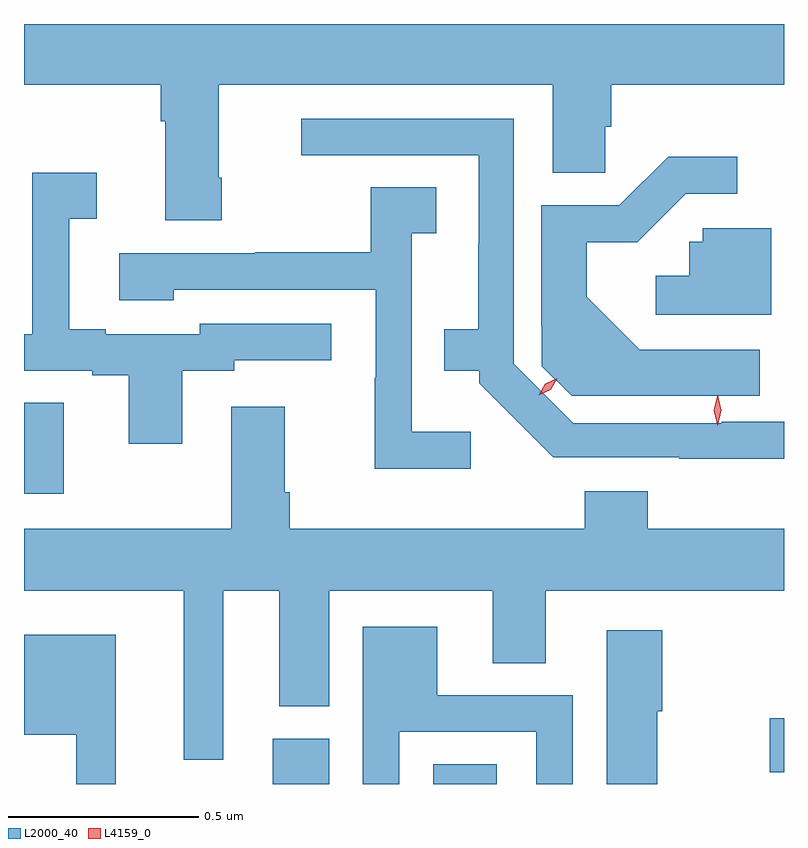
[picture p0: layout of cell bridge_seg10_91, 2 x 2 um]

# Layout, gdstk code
import gdstk
lib = gdstk.Library(unit=1e-6, precision=1e-09)
def R(c, l, rs):  # rectangles x0, y0, x1, y1
    for r in rs: c.add(gdstk.rectangle(r[:2], r[2:], *l))
def P(c, l, *ps):  # polygons
    for p in ps: c.add(gdstk.Polygon(p, *l))
L2000_40 = (2000, 40)
L4159_0 = (4159, 0)

bridge_seg10_91 = lib.new_cell('bridge_seg10_91')
R(bridge_seg10_91, L2000_40, [(637.331,1297.144,637.48,1297.263), (637.754,1297.144,637.921,1297.196), (638.64,1297.175,638.677,1297.317), (636.677,1297.908,636.781,1298.147)])
P(bridge_seg10_91, L2000_40, [(638.207,1298.874),(638.222,1298.874),(638.222,1298.984),(638.677,1298.984),(638.677,1299.144),(636.677,1299.144),(636.677,1298.984),(637.037,1298.984),(637.037,1298.888),(637.049,1298.888),(637.049,1298.628),(637.197,1298.628),(637.197,1298.74),(637.189,1298.74),(637.189,1298.984),(638.069,1298.984),(638.069,1298.752),(638.207,1298.752)],
  [(638.677,1298.097),(638.513,1298.097),(638.513,1298.093),(638.123,1298.093),(637.966,1298.25),(637.966,1298.895),(637.407,1298.895),(637.407,1298.799),(637.874,1298.799),(637.874,1298.564),(637.872,1298.564),(637.872,1298.341),(637.783,1298.341),(637.783,1298.231),(637.875,1298.231),(637.875,1298.199),(638.07,1298.004),(638.401,1298.004),(638.401,1298),(638.677,1298)],
  [(638.613,1298.287),(638.297,1298.287),(638.158,1298.426),(638.158,1298.57),(638.291,1298.57),(638.418,1298.697),(638.554,1298.697),(638.554,1298.795),(638.372,1298.795),(638.244,1298.667),(638.038,1298.667),(638.038,1298.35),(638.04,1298.35),(638.04,1298.244),(638.118,1298.166),(638.613,1298.166)],
  [(637.093,1298.232),(637.23,1298.232),(637.23,1298.259),(637.486,1298.259),(637.486,1298.355),(637.14,1298.355),(637.14,1298.328),(636.892,1298.328),(636.892,1298.341),(636.796,1298.341),(636.796,1298.632),(636.868,1298.632),(636.868,1298.752),(636.699,1298.752),(636.699,1298.328),(636.677,1298.328),(636.677,1298.232),(636.857,1298.232),(636.857,1298.22),(636.953,1298.22),(636.953,1298.04),(637.093,1298.04)],
  [(637.852,1298.071),(637.698,1298.071),(637.698,1298.593),(637.762,1298.593),(637.762,1298.714),(637.59,1298.714),(637.59,1298.544),(637.285,1298.544),(637.285,1298.541),(636.927,1298.541),(636.927,1298.417),(637.071,1298.417),(637.071,1298.445),(637.602,1298.445),(637.602,1298.213),(637.6,1298.213),(637.6,1297.973),(637.852,1297.973)],
  [(638.644,1298.607),(638.463,1298.607),(638.463,1298.571),(638.427,1298.571),(638.427,1298.482),(638.34,1298.482),(638.34,1298.379),(638.644,1298.379)],
  [(637.201,1297.652),(637.349,1297.652),(637.349,1297.348),(637.48,1297.348),(637.48,1297.652),(637.91,1297.652),(637.91,1297.462),(638.05,1297.462),(638.05,1297.652),(638.677,1297.652),(638.677,1297.816),(638.318,1297.816),(638.318,1297.915),(638.153,1297.915),(638.153,1297.816),(637.376,1297.816),(637.376,1297.912),(637.363,1297.912),(637.363,1298.137),(637.223,1298.137),(637.223,1297.816),(636.677,1297.816),(636.677,1297.652),(637.097,1297.652),(637.097,1297.208),(637.201,1297.208)],
  [(637.665,1297.281),(638.025,1297.281),(638.025,1297.144),(638.121,1297.144),(638.121,1297.377),(637.765,1297.377),(637.765,1297.558),(637.569,1297.558),(637.569,1297.144),(637.665,1297.144)],
  [(638.344,1297.336),(638.357,1297.336),(638.357,1297.549),(638.21,1297.549),(638.21,1297.144),(638.344,1297.144)],
  [(636.919,1297.537),(636.677,1297.537),(636.677,1297.274),(636.815,1297.274),(636.815,1297.144),(636.919,1297.144)])
P(bridge_seg10_91, L4159_0, [(638.502,1298.087),(638.502,1298.087),(638.492,1298.128),(638.502,1298.169),(638.502,1298.169),(638.502,1298.169),(638.512,1298.128),(638.502,1298.087)],
  [(638.032,1298.167),(638.032,1298.167),(638.049,1298.197),(638.08,1298.212),(638.08,1298.212),(638.08,1298.212),(638.063,1298.182),(638.032,1298.167)])

lib.write_gds('bridge_seg10_91.gds')
